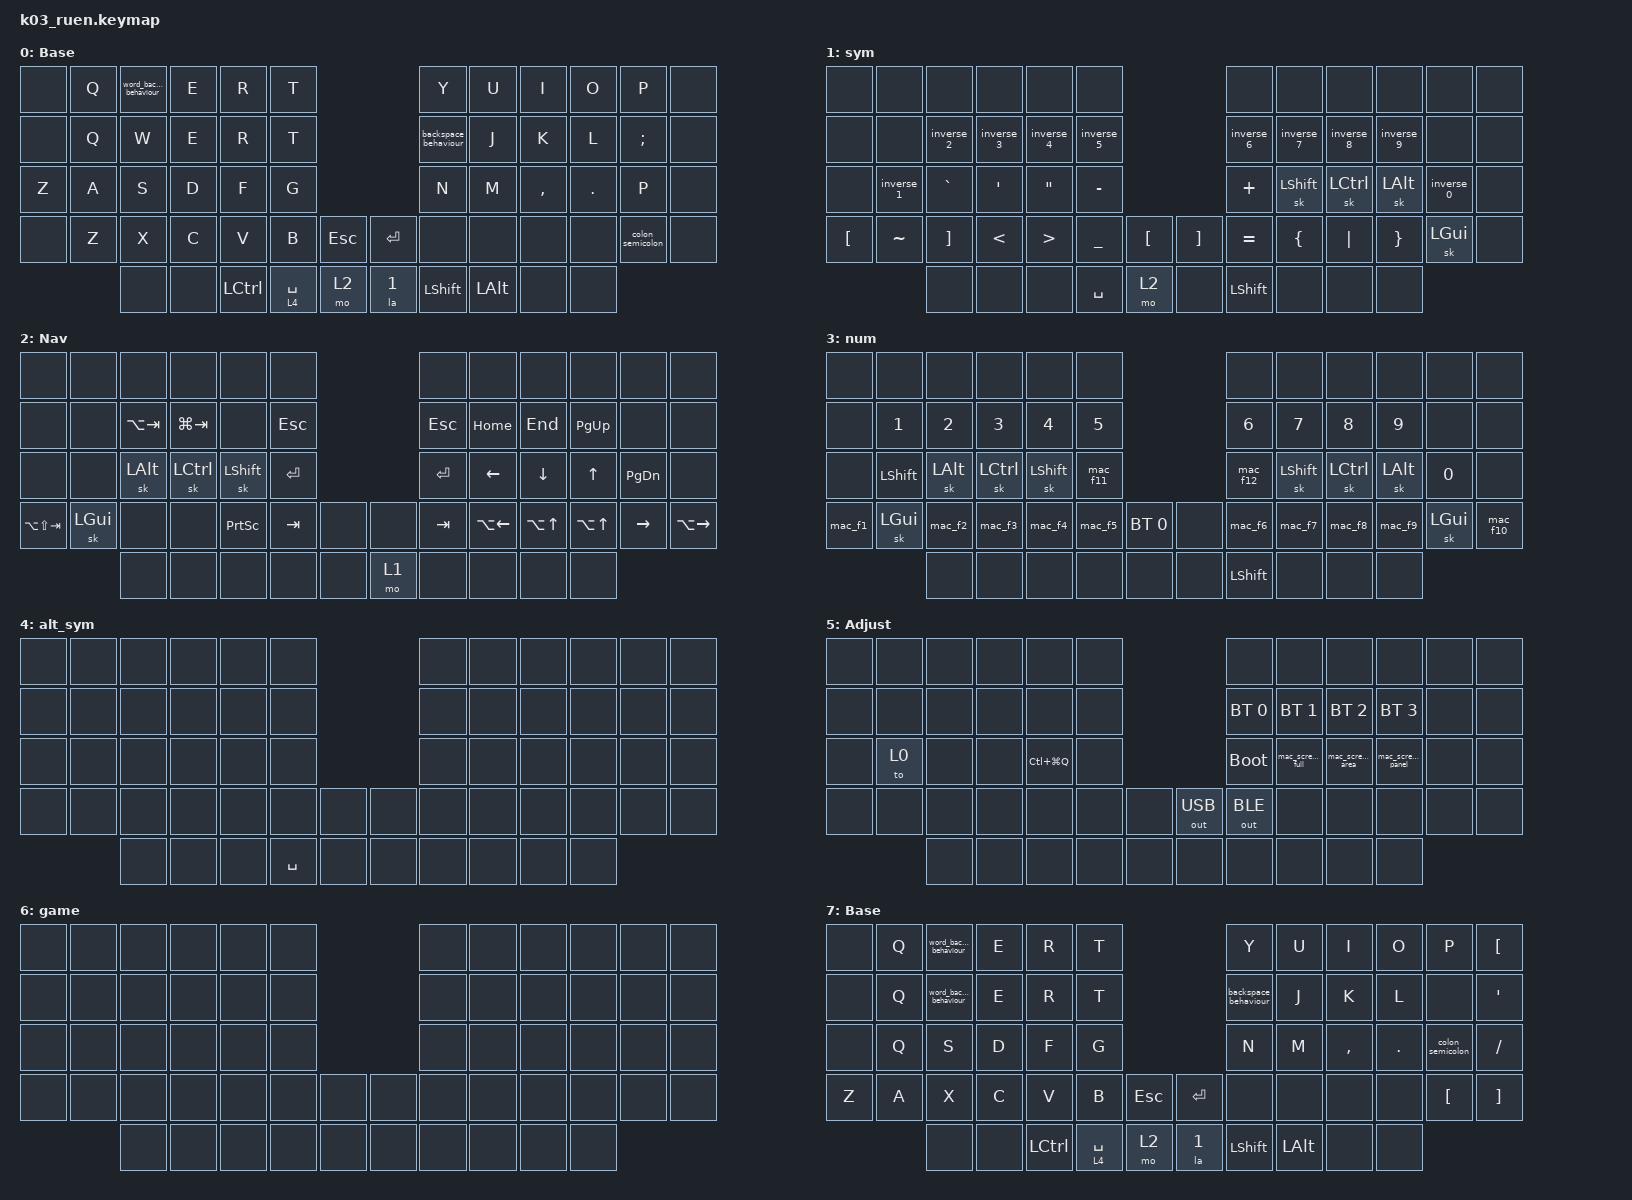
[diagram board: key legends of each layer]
#include "keys_ru.h"
#include <behaviors.dtsi>
#include <dt-bindings/zmk/bt.h>
#include <dt-bindings/zmk/keys.h>
#include <dt-bindings/zmk/outputs.h>

/ {
    behaviors {
        la: la {
            compatible = "zmk,behavior-macro-one-param";
            display-name = "Layer Activate";
            #binding-cells = <1>;
            wait-ms = <0>;
            tap-ms = <0>;
            bindings =
                <&macro_tap>,
                <&kp 0>,
                <&macro_press>,
                <&macro_param_1to1 &mo MACRO_PLACEHOLDER>,
                <&macro_pause_for_release>,
                <&macro_release>,
                <&macro_param_1to1 &mo MACRO_PLACEHOLDER &kp LSHFT &kp LCTRL &kp LALT &kp LGUI>;
        };

        enc_vol: enc_vol {
            compatible = "zmk,behavior-sensor-rotate";
            label = "ENC_VOL";
            #sensor-binding-cells = <0>;
            bindings = <&kp C_VOL_UP>, <&kp C_VOL_DN>;
        };

        hml: hml {
            compatible = "zmk,behavior-hold-tap";
            label = "HML";
            bindings = <&kp>, <&kp>;

            #binding-cells = <2>;
            flavor = "balanced";
            tapping-term-ms = <150>;
            quick-tap-ms = <175>;
            require-prior-idle-ms = <175>;
            hold-trigger-key-positions = <6 7 8 9 10 11 18 19 20 21 22 23 30 31 32 33 34 35 43 44 45 46 47 48 49 55 56 57 58 59>;
            hold-trigger-on-release;
        };

        hmr: hmr {
            compatible = "zmk,behavior-hold-tap";
            label = "HMR";
            bindings = <&kp>, <&kp>;

            #binding-cells = <2>;
            flavor = "balanced";
            tapping-term-ms = <150>;
            quick-tap-ms = <175>;
            require-prior-idle-ms = <175>;
            hold-trigger-key-positions = <0 1 2 3 4 5 12 13 14 15 16 17 24 25 26 27 28 29 36 37 38 39 40 41 42 50 51 52 53 54>;
            hold-trigger-on-release;
        };

        backspace_behaviour: backspace_behaviour {
            compatible = "zmk,behavior-mod-morph";
            label = "BACKSPACE_BEHAVIOUR";
            bindings = <&kp H>, <&kp BACKSPACE>;

            #binding-cells = <0>;
            mods = <(MOD_LCTL|MOD_RCTL)>;
        };

        word_backspace_behaviour: word_backspace_behaviour {
            compatible = "zmk,behavior-mod-morph";
            label = "WORD_BACKSPACE_BEHAVIOUR";
            bindings = <&kp W>, <&kp LA(BACKSPACE)>;

            #binding-cells = <0>;
            mods = <(MOD_RCTL|MOD_LCTL)>;
        };

        colon_semicolon: colon_semicolon {
            compatible = "zmk,behavior-mod-morph";
            label = "COLON_SEMICOLON";
            bindings = <&kp LS(SEMICOLON)>, <&kp SEMICOLON>;

            #binding-cells = <0>;
            mods = <(MOD_LSFT|MOD_RSFT)>;
        };

        inverse_1: inverse_1 {
            compatible = "zmk,behavior-mod-morph";
            label = "INVERSE_1";
            bindings = <&kp EXCL>, <&kp KP_NUMBER_1>;

            #binding-cells = <0>;
            mods = <(MOD_LSFT)>;
        };

        inverse_2: inverse_2 {
            compatible = "zmk,behavior-mod-morph";
            label = "INVERSE_2";
            bindings = <&kp AT_SIGN>, <&kp KP_NUMBER_2>;

            #binding-cells = <0>;
            mods = <(MOD_LSFT)>;
        };

        inverse_3: inverse_3 {
            compatible = "zmk,behavior-mod-morph";
            label = "INVERSE_3";
            bindings = <&kp HASH>, <&kp KP_NUMBER_3>;

            #binding-cells = <0>;
            mods = <(MOD_LSFT)>;
        };

        inverse_4: inverse_4 {
            compatible = "zmk,behavior-mod-morph";
            label = "INVERSE_4";
            bindings = <&kp DOLLAR>, <&kp KP_NUMBER_4>;

            #binding-cells = <0>;
            mods = <(MOD_LSFT)>;
        };

        inverse_5: inverse_5 {
            compatible = "zmk,behavior-mod-morph";
            label = "INVERSE_5";
            bindings = <&kp PERCENT>, <&kp KP_NUMBER_5>;

            #binding-cells = <0>;
            mods = <(MOD_LSFT)>;
        };

        inverse_6: inverse_6 {
            compatible = "zmk,behavior-mod-morph";
            label = "INVERSE_6";
            bindings = <&kp CARET>, <&kp KP_NUMBER_6>;

            #binding-cells = <0>;
            mods = <(MOD_LSFT|MOD_RSFT)>;
        };

        inverse_7: inverse_7 {
            compatible = "zmk,behavior-mod-morph";
            label = "INVERSE_7";
            bindings = <&kp AMPERSAND>, <&kp KP_NUMBER_7>;

            #binding-cells = <0>;
            mods = <(MOD_LSFT|MOD_RSFT)>;
        };

        inverse_8: inverse_8 {
            compatible = "zmk,behavior-mod-morph";
            label = "INVERSE_8";
            bindings = <&kp ASTERISK>, <&kp KP_NUMBER_8>;

            #binding-cells = <0>;
            mods = <(MOD_LSFT|MOD_RSFT)>;
        };

        inverse_9: inverse_9 {
            compatible = "zmk,behavior-mod-morph";
            label = "INVERSE_9";
            bindings = <&kp LPAR>, <&kp KP_NUMBER_9>;

            #binding-cells = <0>;
            mods = <(MOD_LSFT|MOD_RSFT)>;
        };

        inverse_0: inverse_0 {
            compatible = "zmk,behavior-mod-morph";
            label = "INVERSE_0";
            bindings = <&kp RPAR>, <&kp KP_NUMBER_0>;

            #binding-cells = <0>;
            mods = <(MOD_LSFT|MOD_RSFT)>;
        };

        layer_morph_2_4: layer_morph_2_4 {
            compatible = "zmk,behavior-mod-morph";
            label = "LAYER_MORPH_2_4";
            bindings = <&mo 4>, <&mo 0>;

            #binding-cells = <0>;
            mods = <(MOD_LSFT)>;
        };

        layer_morph_1_5: layer_morph_1_5 {
            compatible = "zmk,behavior-mod-morph";
            label = "LAYER_MORPH_1_5";
            bindings = <&mo 1>, <&mo 0>;

            #binding-cells = <0>;
            mods = <(MOD_LSFT)>;
        };

        mac_f1: mac_f1 {
            compatible = "zmk,behavior-mod-morph";
            label = "MAC_F1";
            bindings = <&kp C_BRIGHTNESS_DEC>, <&kp F1>;

            #binding-cells = <0>;
            mods = <(MOD_LSFT)>;
        };

        mac_f2: mac_f2 {
            compatible = "zmk,behavior-mod-morph";
            label = "MAC_F2";
            bindings = <&kp C_BRIGHTNESS_INC>, <&kp F2>;

            #binding-cells = <0>;
            mods = <(MOD_LSFT)>;
        };

        mac_f3: mac_f3 {
            compatible = "zmk,behavior-mod-morph";
            label = "MAC_F3";
            bindings = <&kp F13>, <&kp F3>;

            #binding-cells = <0>;
            mods = <(MOD_LSFT)>;
        };

        mac_f4: mac_f4 {
            compatible = "zmk,behavior-mod-morph";
            label = "MAC_F4";
            bindings = <&kp F14>, <&kp F4>;

            #binding-cells = <0>;
            mods = <(MOD_LSFT)>;
        };

        mac_f5: mac_f5 {
            compatible = "zmk,behavior-mod-morph";
            label = "MAC_F5";
            bindings = <&kp F15>, <&kp F5>;

            #binding-cells = <0>;
            mods = <(MOD_LSFT)>;
        };

        mac_f6: mac_f6 {
            compatible = "zmk,behavior-mod-morph";
            label = "MAC_F6";
            bindings = <&kp F16>, <&kp F6>;

            #binding-cells = <0>;
            mods = <(MOD_LSFT)>;
        };

        mac_f7: mac_f7 {
            compatible = "zmk,behavior-mod-morph";
            label = "MAC_F7";
            bindings = <&kp C_NEXT>, <&kp F7>;

            #binding-cells = <0>;
            mods = <(MOD_LSFT)>;
        };

        mac_f8: mac_f8 {
            compatible = "zmk,behavior-mod-morph";
            label = "MAC_F8";
            #binding-cells = <0>;
            mods = <(MOD_LSFT)>;
            bindings = <&kp LG(C_PLAY_PAUSE)>, <&kp F8>;
        };

        mac_f9: mac_f9 {
            compatible = "zmk,behavior-mod-morph";
            label = "MAC_F9";
            #binding-cells = <0>;
            mods = <(MOD_LSFT)>;
            bindings = <&kp C_NEXT>, <&kp F9>;
        };

        mac_f10: mac_f10 {
            compatible = "zmk,behavior-mod-morph";
            label = "MAC_F10";
            #binding-cells = <0>;
            mods = <(MOD_LSFT)>;
            bindings = <&kp C_MUTE>, <&kp F10>;
        };

        mac_f11: mac_f11 {
            compatible = "zmk,behavior-mod-morph";
            label = "MAC_F11";
            #binding-cells = <0>;
            mods = <(MOD_LSFT)>;
            bindings = <&kp C_VOLUME_DOWN>, <&kp F11>;
        };

        mac_f12: mac_f12 {
            compatible = "zmk,behavior-mod-morph";
            label = "MAC_F12";
            #binding-cells = <0>;
            mods = <(MOD_LSFT)>;
            bindings = <&kp C_VOLUME_UP>, <&kp F12>;
        };

        mac_f1_and_1: mac_f1_and_1 {
            compatible = "zmk,behavior-mod-morph";
            label = "MAC_F1_AND_1";
            bindings = <&mac_f1>, <&kp N1>;

            #binding-cells = <0>;
            mods = <(MOD_LGUI)>;
        };

        mac_f2_and_2: mac_f2_and_2 {
            compatible = "zmk,behavior-mod-morph";
            label = "MAC_F2_AND_2";
            bindings = <&mac_f2>, <&kp N2>;

            #binding-cells = <0>;
            mods = <(MOD_LGUI)>;
        };

        mac_f3_and_3: mac_f3_and_3 {
            compatible = "zmk,behavior-mod-morph";
            label = "MAC_F3_AND_3";
            bindings = <&mac_f3>, <&kp N3>;

            #binding-cells = <0>;
            mods = <(MOD_LGUI)>;
        };

        mac_f4_and_4: mac_f4_and_4 {
            compatible = "zmk,behavior-mod-morph";
            label = "MAC_F4_AND_4";
            bindings = <&mac_f4>, <&kp N4>;

            #binding-cells = <0>;
            mods = <(MOD_LGUI)>;
        };

        mac_f5_and_5: mac_f5_and_5 {
            compatible = "zmk,behavior-mod-morph";
            label = "MAC_F5_AND_5";
            bindings = <&mac_f5>, <&kp N5>;

            #binding-cells = <0>;
            mods = <(MOD_LGUI)>;
        };

        mac_f6_and_6: mac_f6_and_6 {
            compatible = "zmk,behavior-mod-morph";
            label = "MAC_F6_AND_6";
            bindings = <&mac_f6>, <&kp N6>;

            #binding-cells = <0>;
            mods = <(MOD_LGUI)>;
        };

        mac_f7_and_7: mac_f7_and_7 {
            compatible = "zmk,behavior-mod-morph";
            label = "MAC_F7_AND_7";
            bindings = <&mac_f7>, <&kp KP_NUMBER_7>;

            #binding-cells = <0>;
            mods = <(MOD_LGUI)>;
        };

        mac_f8_and_8: mac_f8_and_8 {
            compatible = "zmk,behavior-mod-morph";
            label = "MAC_F8_AND_8";
            bindings = <&mac_f8>, <&kp KP_NUMBER_8>;

            #binding-cells = <0>;
            mods = <(MOD_LGUI)>;
        };

        mac_f9_and_9: mac_f9_and_9 {
            compatible = "zmk,behavior-mod-morph";
            label = "MAC_F9_AND_9";
            bindings = <&mac_f9>, <&kp KP_NUMBER_9>;

            #binding-cells = <0>;
            mods = <(MOD_LGUI)>;
        };

        zero_and_zero: zero_and_zero {
            compatible = "zmk,behavior-mod-morph";
            label = "ZERO_AND_ZERO";
            bindings = <&kp KP_NUMBER_0>, <&kp KP_NUMBER_0>;

            #binding-cells = <0>;
            mods = <(MOD_LGUI)>;
        };

        hold_tap: hold_tap {
            compatible = "zmk,behavior-hold-tap";
            label = "HOLD_TAP";
            bindings = <&mo>, <&sk>;

            #binding-cells = <2>;
            tapping-term-ms = <200>;
        };
    };

    combos { compatible = "zmk,combos"; };

    macros {
        nvim_toggle_repl: nvim_toggle_dap {
            compatible = "zmk,behavior-macro";
            #binding-cells = <0>;
            bindings = <&kp SPACE &kp R &kp R>;
            label = "NVIM_TOGGLE_DAP";
        };

        nvim_toggle_dap: nvim_toggle_de {
            compatible = "zmk,behavior-macro";
            #binding-cells = <0>;
            bindings = <&kp SPACE &kp D &kp U>;
            label = "NVIM_TOGGLE_DE";
        };

        mac_screenshot_full: mac_screen {
            compatible = "zmk,behavior-macro";
            #binding-cells = <0>;
            bindings = <&kp LEFT_GUI &kp LEFT_SHIFT &kp NUMBER_3>;
            label = "MAC_SCREEN";
        };

        mac_screenshot_area: mac_screenshot_area {
            compatible = "zmk,behavior-macro";
            #binding-cells = <0>;
            bindings = <&kp LEFT_GUI &kp LEFT_SHIFT &kp NUMBER_4>;
            label = "MAC_SCREENSHOT_AREA";
        };

        mac_screenshot_panel: mac_screenshot_window {
            compatible = "zmk,behavior-macro";
            #binding-cells = <0>;
            bindings = <&kp LEFT_GUI &kp LEFT_SHIFT &kp NUMBER_5>;
            label = "MAC_SCREENSHOT_WINDOW";
        };
    };

    keymap {
        compatible = "zmk,keymap";

        layer_0 {
            display-name = "Base";
            bindings = <
&none  &kp Q  &word_backspace_behaviour  &kp E  &kp R             &kp T                                    &kp Y                 &kp U         &kp I      &kp O    &kp P             &none
&none  &kp Q  &kp W                      &kp E  &kp R             &kp T                                    &backspace_behaviour  &kp J         &kp K      &kp L    &kp SEMI          &none
&kp Z  &kp A  &kp S                      &kp D  &kp F             &kp G                                    &kp N                 &kp M         &kp COMMA  &kp DOT  &kp P             &none
&none  &kp Z  &kp X                      &kp C  &kp V             &kp B              &kp ESC    &kp ENTER  &none                 &none         &none      &none    &colon_semicolon  &none
              &none                      &none  &kp LEFT_CONTROL  &hold_tap 4 SPACE  &mo 2      &la 1      &kp LEFT_SHIFT        &kp LEFT_ALT  &none      &none
            >;
        };

        sym {
            bindings = <
&none             &none       &none              &none          &none             &none                                              &none           &none           &none             &none            &none         &none
&none             &none       &inverse_2         &inverse_3     &inverse_4        &inverse_5                                         &inverse_6      &inverse_7      &inverse_8        &inverse_9       &none         &none
&none             &inverse_1  &kp GRAVE          &kp SQT        &kp DQT           &kp MINUS                                          &kp PLUS        &sk LEFT_SHIFT  &sk LEFT_CONTROL  &sk LEFT_ALT     &inverse_0    &none
&kp LEFT_BRACKET  &kp TILDE   &kp RIGHT_BRACKET  &kp LESS_THAN  &kp GREATER_THAN  &kp UNDER   &kp LEFT_BRACKET    &kp RIGHT_BRACKET  &kp EQUAL       &kp LEFT_BRACE  &kp PIPE          &kp RIGHT_BRACE  &sk LEFT_GUI  &none
                              &none              &none          &none             &kp SPACE   &mo 2               &none              &kp LEFT_SHIFT  &none           &none             &none
            >;
        };

        nav {
            bindings = <
&none            &none         &none         &none             &none            &none                      &none      &none           &none       &none        &none            &none
&none            &none         &kp LA(TAB)   &kp LG(TAB)       &none            &kp ESC                    &kp ESC    &kp HOME        &kp END     &kp PAGE_UP  &none            &none
&none            &none         &sk LEFT_ALT  &sk LEFT_CONTROL  &sk LEFT_SHIFT   &kp ENTER                  &kp ENTER  &kp LEFT_ARROW  &kp DOWN    &kp UP       &kp PG_DN        &none
&kp LA(LS(TAB))  &sk LEFT_GUI  &none         &none             &kp PRINTSCREEN  &kp TAB    &none    &none  &kp TAB    &kp LA(LEFT)    &kp LA(UP)  &kp LA(UP)   &kp RIGHT_ARROW  &kp LA(RIGHT_ARROW)
                               &none         &none             &none            &none      &none    &mo 1  &none      &none           &none       &none
            >;

            display-name = "Nav";
        };

        num {
            bindings = <
&none    &none           &none         &none             &none           &none                            &none           &none           &none             &none         &none         &none
&none    &kp N1          &kp N2        &kp N3            &kp N4          &kp N5                           &kp N6          &kp N7          &kp N8            &kp N9        &none         &none
&none    &kp LEFT_SHIFT  &sk LEFT_ALT  &sk LEFT_CONTROL  &sk LEFT_SHIFT  &mac_f11                         &mac_f12        &sk LEFT_SHIFT  &sk LEFT_CONTROL  &sk LEFT_ALT  &kp N0        &none
&mac_f1  &sk LEFT_GUI    &mac_f2       &mac_f3           &mac_f4         &mac_f5   &bt BT_SEL 0    &none  &mac_f6         &mac_f7         &mac_f8           &mac_f9       &sk LEFT_GUI  &mac_f10
                         &none         &none             &none           &none     &none           &none  &kp LEFT_SHIFT  &none           &none             &none
            >;
        };

        alt_sym {
            bindings = <
&none  &none  &none  &none  &none  &none                      &none  &none  &none  &none  &none  &none
&none  &none  &none  &none  &none  &none                      &none  &none  &none  &none  &none  &none
&none  &none  &none  &none  &none  &none                      &none  &none  &none  &none  &none  &none
&none  &none  &none  &none  &none  &none      &none    &none  &none  &none  &none  &none  &none  &none
              &none  &none  &none  &kp SPACE  &none    &none  &none  &none  &none  &none
            >;
        };

        cmd_layer {
            bindings = <
&none  &none  &none  &none  &none          &none                         &none         &none                 &none                 &none                  &none  &none
&none  &none  &none  &none  &none          &none                         &bt BT_SEL 0  &bt BT_SEL 1          &bt BT_SEL 2          &bt BT_SEL 3           &none  &none
&none  &to 0  &none  &none  &kp LC(LG(Q))  &none                         &bootloader   &mac_screenshot_full  &mac_screenshot_area  &mac_screenshot_panel  &none  &none
&none  &none  &none  &none  &none          &none  &none    &out OUT_USB  &out OUT_BLE  &none                 &none                 &none                  &none  &none
              &none  &none  &none          &none  &none    &none         &none         &none                 &none                 &none
            >;

            display-name = "Adjust";
        };

        game {
            bindings = <
&none  &none  &none  &none  &none  &none                  &none  &none  &none  &none  &none  &none
&none  &none  &none  &none  &none  &none                  &none  &none  &none  &none  &none  &none
&none  &none  &none  &none  &none  &none                  &none  &none  &none  &none  &none  &none
&none  &none  &none  &none  &none  &none  &none    &none  &none  &none  &none  &none  &none  &none
              &none  &none  &none  &none  &none    &none  &none  &none  &none  &none
            >;
        };

        layer_7 {
            display-name = "Base";
            bindings = <
&none  &kp Q  &word_backspace_behaviour  &kp E  &kp R             &kp T                                    &kp Y                 &kp U         &kp I      &kp O    &kp P             &kp LEFT_BRACKET
&none  &kp Q  &word_backspace_behaviour  &kp E  &kp R             &kp T                                    &backspace_behaviour  &kp J         &kp K      &kp L    &none             &kp SQT
&none  &kp Q  &kp S                      &kp D  &kp F             &kp G                                    &kp N                 &kp M         &kp COMMA  &kp DOT  &colon_semicolon  &kp FSLH
&kp Z  &kp A  &kp X                      &kp C  &kp V             &kp B              &kp ESC    &kp ENTER  &none                 &none         &none      &none    &kp LEFT_BRACKET  &kp RIGHT_BRACKET
              &none                      &none  &kp LEFT_CONTROL  &hold_tap 4 SPACE  &mo 2      &la 1      &kp LEFT_SHIFT        &kp LEFT_ALT  &none      &none
            >;
        };
    };

    conditional_layers {
        compatible = "zmk,conditional-layers";

        activate_num {
            if-layers = <1 2>;
            then-layer = <3>;
        };
    };
};
